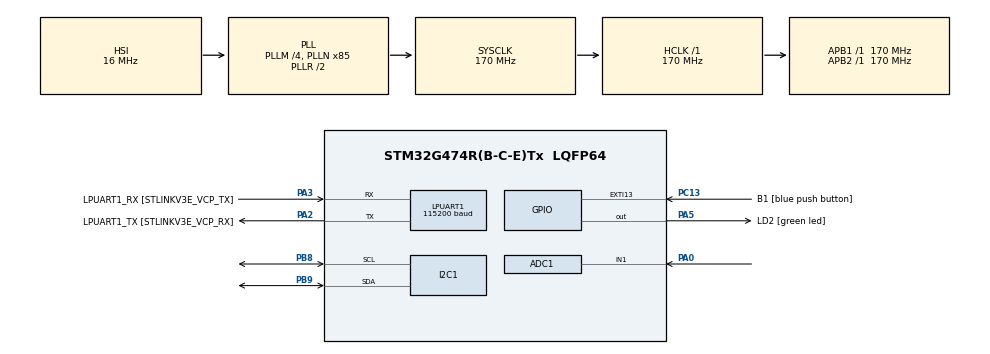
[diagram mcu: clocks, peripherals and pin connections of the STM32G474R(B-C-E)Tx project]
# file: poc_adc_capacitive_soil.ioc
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ADC1.Channel-2\#ChannelRegularConversion=ADC_CHANNEL_1
ADC1.NbrOfConversion=1
ADC1.NbrOfConversionFlag=1
ADC1.OffsetNumber-2\#ChannelRegularConversion=ADC_OFFSET_NONE
ADC1.Rank-2\#ChannelRegularConversion=1
ADC1.SamplingTime-2\#ChannelRegularConversion=ADC_SAMPLETIME_2CYCLES_5
ADC1.master=1
I2C1.Timing=0x30A0A7FB
LPUART1.BaudRate=115200
LPUART1.WordLength=UART_WORDLENGTH_8B
Mcu.Family=STM32G4
Mcu.Name=STM32G474R(B-C-E)Tx
Mcu.Package=LQFP64
NVIC.EXTI15_10_IRQn=true\:0\:0\:false\:false\:true\:true\:true\:true
NVIC.PriorityGroup=NVIC_PRIORITYGROUP_4
PA0.Mode=IN1-Single-Ended
PA0.Signal=ADC1_IN1
PA13.GPIO_Label=T_SWDIO
PA13.Mode=Serial_Wire
PA13.Signal=SYS_JTMS-SWDIO
PA14.GPIO_Label=T_SWCLK
PA14.Mode=Serial_Wire
PA14.Signal=SYS_JTCK-SWCLK
PA2.GPIO_Label=LPUART1_TX [STLINKV3E_VCP_RX]
PA2.Mode=Asynchronous
PA2.Signal=LPUART1_TX
PA3.GPIO_Label=LPUART1_RX [STLINKV3E_VCP_TX]
PA3.Mode=Asynchronous
PA3.Signal=LPUART1_RX
PA5.GPIO_Label=LD2 [green led]
PA5.Signal=GPIO_Output
PB3.GPIO_Label=T_SWO
PB3.Signal=SYS_JTDO-SWO
PB8-BOOT0.Mode=I2C
PB8-BOOT0.Signal=I2C1_SCL
PB9.Mode=I2C
PB9.Signal=I2C1_SDA
PC13.GPIO_Label=B1 [blue push button]
PC13.Signal=GPXTI13
PC14-OSC32_IN.Mode=LSE-External-Oscillator
PC14-OSC32_IN.Signal=RCC_OSC32_IN
PC15-OSC32_OUT.Mode=LSE-External-Oscillator
PC15-OSC32_OUT.Signal=RCC_OSC32_OUT
PF0-OSC_IN.Mode=HSE-External-Oscillator
PF0-OSC_IN.Signal=RCC_OSC_IN
PF1-OSC_OUT.Mode=HSE-External-Oscillator
PF1-OSC_OUT.Signal=RCC_OSC_OUT
ProjectManager.HeapSize=0x200
ProjectManager.StackSize=0x400
ProjectManager.TargetToolchain=STM32CubeIDE
RCC.ADC12Freq_Value=170000000
RCC.ADC345Freq_Value=170000000
RCC.AHBFreq_Value=170000000
RCC.APB1Freq_Value=170000000
RCC.APB1TimFreq_Value=170000000
RCC.APB2Freq_Value=170000000
RCC.APB2TimFreq_Value=170000000
RCC.CortexFreq_Value=170000000
RCC.EXTERNAL_CLOCK_VALUE=12288000
RCC.HCLKFreq_Value=170000000
RCC.HSE_VALUE=24000000
RCC.HSI48_VALUE=48000000
RCC.HSI_VALUE=16000000
RCC.PLLM=RCC_PLLM_DIV4
RCC.PLLN=85
RCC.RTCClockSelection=RCC_RTCCLKSOURCE_LSE
RCC.SYSCLKFreq_VALUE=170000000
RCC.SYSCLKSource=RCC_SYSCLKSOURCE_PLLCLK
RCC.USBFreq_Value=170000000
RCC.VCOOutputFreq_Value=340000000
VP_SYS_VS_DBSignals.Mode=DisableDeadBatterySignals
board=NUCLEO-G474RE

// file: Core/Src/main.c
/* USER CODE BEGIN Header */
/**
  ******************************************************************************
  * @file           : main.c
  * @brief          : Main program body
  ******************************************************************************
  * @attention
  *
  * Copyright (c) 2024 STMicroelectronics.
  * All rights reserved.
  *
  * This software is licensed under terms that can be found in the LICENSE file
  * in the root directory of this software component.
  * If no LICENSE file comes with this software, it is provided AS-IS.
  *
  ******************************************************************************
  */
/* USER CODE END Header */
#include "main.h"

/* USER CODE BEGIN Includes */
#include "stdio.h"
#include "ssd1306.h"
#include "ssd1306_fonts.h"
/* USER CODE END Includes */

ADC_HandleTypeDef hadc1;

I2C_HandleTypeDef hi2c1;

UART_HandleTypeDef hlpuart1;

/* USER CODE BEGIN PV */
uint16_t adc_raw;
float soil_hum;
char hum[6];
/* USER CODE END PV */

void SystemClock_Config(void);
static void MX_GPIO_Init(void);
static void MX_LPUART1_UART_Init(void);
static void MX_ADC1_Init(void);
static void MX_I2C1_Init(void);

int main(void)
{

  /* MCU Configuration--------------------------------------------------------*/

  /* Reset of all peripherals, Initializes the Flash interface and the Systick. */
  HAL_Init();

  /* Configure the system clock */
  SystemClock_Config();

  /* Initialize all configured peripherals */
  MX_GPIO_Init();
  MX_LPUART1_UART_Init();
  MX_ADC1_Init();
  MX_I2C1_Init();
  /* USER CODE BEGIN 2 */
  ssd1306_Init();
  ssd1306_Fill(White);
  /* USER CODE END 2 */

  /* Infinite loop */
  /* USER CODE BEGIN WHILE */
  while (1)
  {

	HAL_ADC_Start(&hadc1);
	HAL_ADC_PollForConversion(&hadc1, HAL_MAX_DELAY);
	adc_raw = HAL_ADC_GetValue(&hadc1);
	soil_hum = (float) adc_raw * 100.0/4096.0;

	sprintf(hum, "%04.1f%%", soil_hum);

    ssd1306_SetCursor(2, 18);
	ssd1306_WriteString(hum, Font_11x18, Black);

	ssd1306_UpdateScreen();
	HAL_Delay(100);

    /* USER CODE END WHILE */

  }
}

void SystemClock_Config(void)
{
  RCC_OscInitTypeDef RCC_OscInitStruct = {0};
  RCC_ClkInitTypeDef RCC_ClkInitStruct = {0};

  /** Configure the main internal regulator output voltage
  */
  HAL_PWREx_ControlVoltageScaling(PWR_REGULATOR_VOLTAGE_SCALE1_BOOST);

  /** Initializes the RCC Oscillators according to the specified parameters
  * in the RCC_OscInitTypeDef structure.
  */
  RCC_OscInitStruct.OscillatorType = RCC_OSCILLATORTYPE_HSI;
  RCC_OscInitStruct.HSIState = RCC_HSI_ON;
  RCC_OscInitStruct.HSICalibrationValue = RCC_HSICALIBRATION_DEFAULT;
  RCC_OscInitStruct.PLL.PLLState = RCC_PLL_ON;
  RCC_OscInitStruct.PLL.PLLSource = RCC_PLLSOURCE_HSI;
  RCC_OscInitStruct.PLL.PLLM = RCC_PLLM_DIV4;
  RCC_OscInitStruct.PLL.PLLN = 85;
  RCC_OscInitStruct.PLL.PLLP = RCC_PLLP_DIV2;
  RCC_OscInitStruct.PLL.PLLQ = RCC_PLLQ_DIV2;
  RCC_OscInitStruct.PLL.PLLR = RCC_PLLR_DIV2;
  if (HAL_RCC_OscConfig(&RCC_OscInitStruct) != HAL_OK)
  {
    Error_Handler();
  }

  /** Initializes the CPU, AHB and APB buses clocks
  */
  RCC_ClkInitStruct.ClockType = RCC_CLOCKTYPE_HCLK|RCC_CLOCKTYPE_SYSCLK
                              |RCC_CLOCKTYPE_PCLK1|RCC_CLOCKTYPE_PCLK2;
  RCC_ClkInitStruct.SYSCLKSource = RCC_SYSCLKSOURCE_PLLCLK;
  RCC_ClkInitStruct.AHBCLKDivider = RCC_SYSCLK_DIV1;
  RCC_ClkInitStruct.APB1CLKDivider = RCC_HCLK_DIV1;
  RCC_ClkInitStruct.APB2CLKDivider = RCC_HCLK_DIV1;

  if (HAL_RCC_ClockConfig(&RCC_ClkInitStruct, FLASH_LATENCY_4) != HAL_OK)
  {
    Error_Handler();
  }
}

static void MX_ADC1_Init(void)
{

  ADC_MultiModeTypeDef multimode = {0};
  ADC_ChannelConfTypeDef sConfig = {0};

  /** Common config
  */
  hadc1.Instance = ADC1;
  hadc1.Init.ClockPrescaler = ADC_CLOCK_SYNC_PCLK_DIV4;
  hadc1.Init.Resolution = ADC_RESOLUTION_12B;
  hadc1.Init.DataAlign = ADC_DATAALIGN_RIGHT;
  hadc1.Init.GainCompensation = 0;
  hadc1.Init.ScanConvMode = ADC_SCAN_DISABLE;
  hadc1.Init.EOCSelection = ADC_EOC_SINGLE_CONV;
  hadc1.Init.LowPowerAutoWait = DISABLE;
  hadc1.Init.ContinuousConvMode = DISABLE;
  hadc1.Init.NbrOfConversion = 1;
  hadc1.Init.DiscontinuousConvMode = DISABLE;
  hadc1.Init.ExternalTrigConv = ADC_SOFTWARE_START;
  hadc1.Init.ExternalTrigConvEdge = ADC_EXTERNALTRIGCONVEDGE_NONE;
  hadc1.Init.DMAContinuousRequests = DISABLE;
  hadc1.Init.Overrun = ADC_OVR_DATA_PRESERVED;
  hadc1.Init.OversamplingMode = DISABLE;
  if (HAL_ADC_Init(&hadc1) != HAL_OK)
  {
    Error_Handler();
  }

  /** Configure the ADC multi-mode
  */
  multimode.Mode = ADC_MODE_INDEPENDENT;
  if (HAL_ADCEx_MultiModeConfigChannel(&hadc1, &multimode) != HAL_OK)
  {
    Error_Handler();
  }

  /** Configure Regular Channel
  */
  sConfig.Channel = ADC_CHANNEL_1;
  sConfig.Rank = ADC_REGULAR_RANK_1;
  sConfig.SamplingTime = ADC_SAMPLETIME_2CYCLES_5;
  sConfig.SingleDiff = ADC_SINGLE_ENDED;
  sConfig.OffsetNumber = ADC_OFFSET_NONE;
  sConfig.Offset = 0;
  if (HAL_ADC_ConfigChannel(&hadc1, &sConfig) != HAL_OK)
  {
    Error_Handler();
  }

}

static void MX_I2C1_Init(void)
{

  hi2c1.Instance = I2C1;
  hi2c1.Init.Timing = 0x30A0A7FB;
  hi2c1.Init.OwnAddress1 = 0;
  hi2c1.Init.AddressingMode = I2C_ADDRESSINGMODE_7BIT;
  hi2c1.Init.DualAddressMode = I2C_DUALADDRESS_DISABLE;
  hi2c1.Init.OwnAddress2 = 0;
  hi2c1.Init.OwnAddress2Masks = I2C_OA2_NOMASK;
  hi2c1.Init.GeneralCallMode = I2C_GENERALCALL_DISABLE;
  hi2c1.Init.NoStretchMode = I2C_NOSTRETCH_DISABLE;
  if (HAL_I2C_Init(&hi2c1) != HAL_OK)
  {
    Error_Handler();
  }

  /** Configure Analogue filter
  */
  if (HAL_I2CEx_ConfigAnalogFilter(&hi2c1, I2C_ANALOGFILTER_ENABLE) != HAL_OK)
  {
    Error_Handler();
  }

  /** Configure Digital filter
  */
  if (HAL_I2CEx_ConfigDigitalFilter(&hi2c1, 0) != HAL_OK)
  {
    Error_Handler();
  }

}

static void MX_LPUART1_UART_Init(void)
{

  hlpuart1.Instance = LPUART1;
  hlpuart1.Init.BaudRate = 115200;
  hlpuart1.Init.WordLength = UART_WORDLENGTH_8B;
  hlpuart1.Init.StopBits = UART_STOPBITS_1;
  hlpuart1.Init.Parity = UART_PARITY_NONE;
  hlpuart1.Init.Mode = UART_MODE_TX_RX;
  hlpuart1.Init.HwFlowCtl = UART_HWCONTROL_NONE;
  hlpuart1.Init.OneBitSampling = UART_ONE_BIT_SAMPLE_DISABLE;
  hlpuart1.Init.ClockPrescaler = UART_PRESCALER_DIV1;
  hlpuart1.AdvancedInit.AdvFeatureInit = UART_ADVFEATURE_NO_INIT;
  if (HAL_UART_Init(&hlpuart1) != HAL_OK)
  {
    Error_Handler();
  }
  if (HAL_UARTEx_SetTxFifoThreshold(&hlpuart1, UART_TXFIFO_THRESHOLD_1_8) != HAL_OK)
  {
    Error_Handler();
  }
  if (HAL_UARTEx_SetRxFifoThreshold(&hlpuart1, UART_RXFIFO_THRESHOLD_1_8) != HAL_OK)
  {
    Error_Handler();
  }
  if (HAL_UARTEx_DisableFifoMode(&hlpuart1) != HAL_OK)
  {
    Error_Handler();
  }

}

static void MX_GPIO_Init(void)
{
  GPIO_InitTypeDef GPIO_InitStruct = {0};

  /* GPIO Ports Clock Enable */
  __HAL_RCC_GPIOC_CLK_ENABLE();
  __HAL_RCC_GPIOF_CLK_ENABLE();
  __HAL_RCC_GPIOA_CLK_ENABLE();
  __HAL_RCC_GPIOB_CLK_ENABLE();

  /*Configure GPIO pin Output Level */
  HAL_GPIO_WritePin(LD2_GPIO_Port, LD2_Pin, GPIO_PIN_RESET);

  /*Configure GPIO pin : B1_Pin */
  GPIO_InitStruct.Pin = B1_Pin;
  GPIO_InitStruct.Mode = GPIO_MODE_IT_RISING;
  GPIO_InitStruct.Pull = GPIO_NOPULL;
  HAL_GPIO_Init(B1_GPIO_Port, &GPIO_InitStruct);

  /*Configure GPIO pin : LD2_Pin */
  GPIO_InitStruct.Pin = LD2_Pin;
  GPIO_InitStruct.Mode = GPIO_MODE_OUTPUT_PP;
  GPIO_InitStruct.Pull = GPIO_NOPULL;
  GPIO_InitStruct.Speed = GPIO_SPEED_FREQ_LOW;
  HAL_GPIO_Init(LD2_GPIO_Port, &GPIO_InitStruct);

  /* EXTI interrupt init*/
  HAL_NVIC_SetPriority(EXTI15_10_IRQn, 0, 0);
  HAL_NVIC_EnableIRQ(EXTI15_10_IRQn);

}

void Error_Handler(void)
{
  __disable_irq();
  while (1)
  {
  }
}
